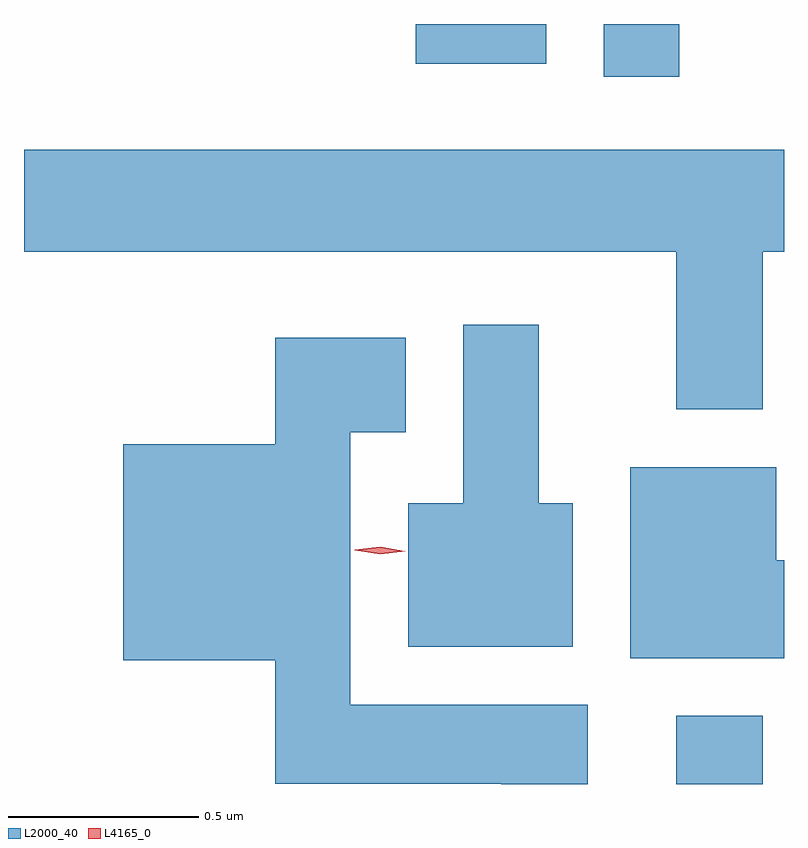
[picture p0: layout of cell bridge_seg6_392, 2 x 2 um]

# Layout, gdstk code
import gdstk
lib = gdstk.Library(unit=1e-6, precision=1e-09)
def R(c, l, rs):  # rectangles x0, y0, x1, y1
    for r in rs: c.add(gdstk.rectangle(r[:2], r[2:], *l))
def P(c, l, *ps):  # polygons
    for p in ps: c.add(gdstk.Polygon(p, *l))
L2000_40 = (2000, 40)
L4165_0 = (4165, 0)

bridge_seg6_392 = lib.new_cell('bridge_seg6_392')
R(bridge_seg6_392, L2000_40, [(1340.041,1550.855,1340.269,1551.034), (1339.851,1552.716,1340.049,1552.855), (1339.356,1552.751,1339.699,1552.855)])
P(bridge_seg6_392, L2000_40, [(1340.269,1552.256),(1340.325,1552.256),(1340.325,1552.524),(1338.325,1552.524),(1338.325,1552.256),(1340.041,1552.256),(1340.041,1551.841),(1340.269,1551.841)],
  [(1339.769,1551.594),(1339.679,1551.594),(1339.679,1552.064),(1339.481,1552.064),(1339.481,1551.594),(1339.336,1551.594),(1339.336,1551.216),(1339.769,1551.216)],
  [(1339.809,1551.064),(1339.184,1551.064),(1339.184,1551.781),(1339.329,1551.781),(1339.329,1552.029),(1338.986,1552.029),(1338.986,1551.749),(1338.586,1551.749),(1338.586,1551.181),(1338.986,1551.181),(1338.986,1550.856),(1339.581,1550.856),(1339.581,1550.855),(1339.809,1550.855)],
  [(1340.325,1551.444),(1340.304,1551.444),(1340.304,1551.689),(1339.921,1551.689),(1339.921,1551.186),(1340.325,1551.186)])
P(bridge_seg6_392, L4165_0, [(1339.262,1551.459),(1339.196,1551.47),(1339.196,1551.47),(1339.196,1551.471),(1339.262,1551.479),(1339.328,1551.468),(1339.328,1551.468),(1339.328,1551.467)])

lib.write_gds('bridge_seg6_392.gds')
